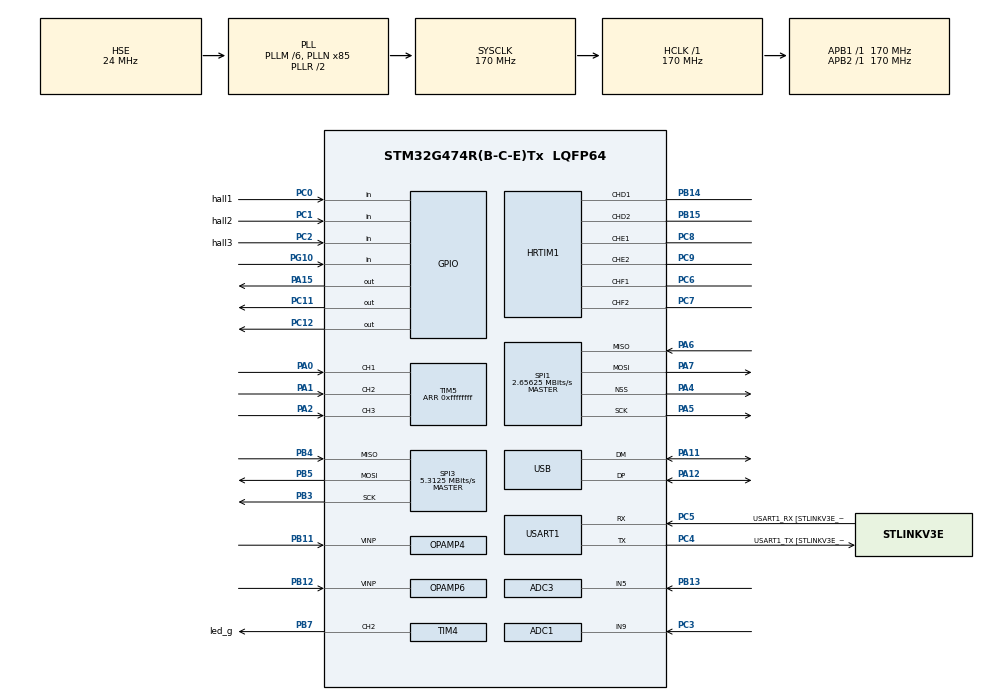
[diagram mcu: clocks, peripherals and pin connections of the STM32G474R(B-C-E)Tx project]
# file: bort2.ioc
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ADC1.Channel-10\#ChannelRegularConversion=ADC_CHANNEL_9
ADC1.ClockPrescaler=ADC_CLOCK_SYNC_PCLK_DIV4
ADC1.EOCSelection=ADC_EOC_SEQ_CONV
ADC1.EnableInjectedConversion=ENABLE
ADC1.EnableRegularConversion=ENABLE
ADC1.ExternalTrigConv=ADC_EXTERNALTRIG_HRTIM_TRG1
ADC1.ExternalTrigInjecConv=ADC_EXTERNALTRIGINJEC_HRTIM_TRG5
ADC1.InjNumberOfConversion=2
ADC1.InjectedChannel-7\#ChannelInjectedConversion=ADC_CHANNEL_11
ADC1.InjectedChannel-9\#ChannelInjectedConversion=ADC_CHANNEL_11
ADC1.InjectedConvMode=None
ADC1.InjectedOffsetNumber-7\#ChannelInjectedConversion=ADC_OFFSET_NONE
ADC1.InjectedOffsetNumber-9\#ChannelInjectedConversion=ADC_OFFSET_NONE
ADC1.InjectedRank-7\#ChannelInjectedConversion=1
ADC1.InjectedRank-9\#ChannelInjectedConversion=2
ADC1.InjectedSamplingTime-7\#ChannelInjectedConversion=ADC_SAMPLETIME_12CYCLES_5
ADC1.InjectedSamplingTime-9\#ChannelInjectedConversion=ADC_SAMPLETIME_12CYCLES_5
ADC1.NbrOfConversion=1
ADC1.NbrOfConversionFlag=1
ADC1.OffsetNumber-10\#ChannelRegularConversion=ADC_OFFSET_NONE
ADC1.Overrun=ADC_OVR_DATA_OVERWRITTEN
ADC1.Rank-10\#ChannelRegularConversion=1
ADC1.SamplingTime-10\#ChannelRegularConversion=ADC_SAMPLETIME_92CYCLES_5
ADC1.master=1
ADC2.Channel-8\#ChannelRegularConversion=ADC_CHANNEL_14
ADC2.ClockPrescaler=ADC_CLOCK_SYNC_PCLK_DIV4
ADC2.EnableInjectedConversion=ENABLE
ADC2.EnableRegularConversion=ENABLE
ADC2.ExternalTrigConv=ADC_EXTERNALTRIG_HRTIM_TRG1
ADC2.ExternalTrigInjecConv=ADC_EXTERNALTRIGINJEC_HRTIM_TRG5
ADC2.InjNumberOfConversion=1
ADC2.InjectedChannel-7\#ChannelInjectedConversion=ADC_CHANNEL_14
ADC2.InjectedOffsetNumber-7\#ChannelInjectedConversion=ADC_OFFSET_NONE
ADC2.InjectedRank-7\#ChannelInjectedConversion=1
ADC2.InjectedSamplingTime-7\#ChannelInjectedConversion=ADC_SAMPLETIME_12CYCLES_5
ADC2.NbrOfConversionFlag=1
ADC2.OffsetNumber-8\#ChannelRegularConversion=ADC_OFFSET_NONE
ADC2.Overrun=ADC_OVR_DATA_OVERWRITTEN
ADC2.Rank-8\#ChannelRegularConversion=1
ADC2.Rank1_Channel=ADC_CHANNEL_14
ADC2.SamplingTime-8\#ChannelRegularConversion=ADC_SAMPLETIME_12CYCLES_5
ADC3.ClockPrescaler=ADC_CLOCK_SYNC_PCLK_DIV4
ADC3.EOCSelection=ADC_EOC_SEQ_CONV
ADC3.EnableInjectedConversion=ENABLE
ADC3.EnableInjectedOversampling=DISABLE
ADC3.EnableRegularConversion=DISABLE
ADC3.ExternalTrigInjecConv=ADC_EXTERNALTRIGINJEC_HRTIM_TRG5
ADC3.InjNumberOfConversion=2
ADC3.InjectedChannel-5\#ChannelInjectedConversion=ADC_CHANNEL_VOPAMP3_ADC3
ADC3.InjectedChannel-6\#ChannelInjectedConversion=ADC_CHANNEL_5
ADC3.InjectedOffsetNumber-5\#ChannelInjectedConversion=ADC_OFFSET_NONE
ADC3.InjectedOffsetNumber-6\#ChannelInjectedConversion=ADC_OFFSET_NONE
ADC3.InjectedRank-5\#ChannelInjectedConversion=1
ADC3.InjectedRank-6\#ChannelInjectedConversion=2
ADC3.InjectedSamplingTime-5\#ChannelInjectedConversion=ADC_SAMPLETIME_12CYCLES_5
ADC3.InjectedSamplingTime-6\#ChannelInjectedConversion=ADC_SAMPLETIME_12CYCLES_5
ADC3.Overrun=ADC_OVR_DATA_OVERWRITTEN
ADC3.Rank1_Channel=ADC_CHANNEL_VOPAMP3_ADC3
ADC3.Rank2_Channel=ADC_CHANNEL_5
ADC3.Rank3_Channel=ADC_CHANNEL_5
ADC3.Rank4_Channel=ADC_CHANNEL_VOPAMP3_ADC3
ADC3.master=1
ADC4.ClockPrescaler=ADC_CLOCK_SYNC_PCLK_DIV4
ADC4.EnableInjectedConversion=ENABLE
ADC4.EnableRegularConversion=DISABLE
ADC4.ExternalTrigInjecConv=ADC_EXTERNALTRIGINJEC_HRTIM_TRG5
ADC4.InjNumberOfConversion=1
ADC4.InjectedChannel-3\#ChannelInjectedConversion=ADC_CHANNEL_VOPAMP6
ADC4.InjectedOffsetNumber-3\#ChannelInjectedConversion=ADC_OFFSET_NONE
ADC4.InjectedRank-3\#ChannelInjectedConversion=1
ADC4.InjectedSamplingTime-3\#ChannelInjectedConversion=ADC_SAMPLETIME_12CYCLES_5
ADC4.Overrun=ADC_OVR_DATA_OVERWRITTEN
ADC4.Rank1_Channel=ADC_CHANNEL_VOPAMP6
ADC5.ClockPrescaler=ADC_CLOCK_SYNC_PCLK_DIV4
ADC5.EnableInjectedConversion=ENABLE
ADC5.EnableRegularConversion=DISABLE
ADC5.ExternalTrigInjecConv=ADC_EXTERNALTRIGINJEC_HRTIM_TRG5
ADC5.InjNumberOfConversion=1
ADC5.InjectedChannel-5\#ChannelInjectedConversion=ADC_CHANNEL_VOPAMP4
ADC5.InjectedOffsetNumber-5\#ChannelInjectedConversion=ADC_OFFSET_NONE
ADC5.InjectedRank-5\#ChannelInjectedConversion=1
ADC5.InjectedSamplingTime-5\#ChannelInjectedConversion=ADC_SAMPLETIME_12CYCLES_5
ADC5.Overrun=ADC_OVR_DATA_OVERWRITTEN
ADC5.Rank1_Channel=ADC_CHANNEL_VOPAMP4
Dma.Request0=SPI3_TX
Dma.Request1=SPI3_RX
Dma.SPI3_RX.1.Direction=DMA_PERIPH_TO_MEMORY
Dma.SPI3_RX.1.EventEnable=DISABLE
Dma.SPI3_RX.1.Instance=DMA1_Channel2
Dma.SPI3_RX.1.MemDataAlignment=DMA_MDATAALIGN_HALFWORD
Dma.SPI3_RX.1.MemInc=DMA_MINC_ENABLE
Dma.SPI3_RX.1.Mode=DMA_NORMAL
Dma.SPI3_RX.1.PeriphDataAlignment=DMA_PDATAALIGN_HALFWORD
Dma.SPI3_RX.1.PeriphInc=DMA_PINC_DISABLE
Dma.SPI3_RX.1.Polarity=HAL_DMAMUX_REQ_GEN_RISING
Dma.SPI3_RX.1.Priority=DMA_PRIORITY_LOW
Dma.SPI3_RX.1.RequestNumber=1
Dma.SPI3_RX.1.SignalID=NONE
Dma.SPI3_RX.1.SyncEnable=DISABLE
Dma.SPI3_RX.1.SyncPolarity=HAL_DMAMUX_SYNC_NO_EVENT
Dma.SPI3_RX.1.SyncRequestNumber=1
Dma.SPI3_RX.1.SyncSignalID=NONE
Dma.SPI3_TX.0.Direction=DMA_MEMORY_TO_PERIPH
Dma.SPI3_TX.0.EventEnable=DISABLE
Dma.SPI3_TX.0.Instance=DMA1_Channel1
Dma.SPI3_TX.0.MemDataAlignment=DMA_MDATAALIGN_HALFWORD
Dma.SPI3_TX.0.MemInc=DMA_MINC_ENABLE
Dma.SPI3_TX.0.Mode=DMA_NORMAL
Dma.SPI3_TX.0.PeriphDataAlignment=DMA_PDATAALIGN_HALFWORD
Dma.SPI3_TX.0.PeriphInc=DMA_PINC_DISABLE
Dma.SPI3_TX.0.Polarity=HAL_DMAMUX_REQ_GEN_RISING
Dma.SPI3_TX.0.Priority=DMA_PRIORITY_LOW
Dma.SPI3_TX.0.RequestNumber=1
Dma.SPI3_TX.0.SignalID=NONE
Dma.SPI3_TX.0.SyncEnable=DISABLE
Dma.SPI3_TX.0.SyncPolarity=HAL_DMAMUX_SYNC_NO_EVENT
Dma.SPI3_TX.0.SyncRequestNumber=1
Dma.SPI3_TX.0.SyncSignalID=NONE
HRTIM1.ADCTrigger1_Source1=HRTIM_ADCTRIGGEREVENT13_TIMERE_PERIOD
HRTIM1.ADCTrigger2_Source1=HRTIM_ADCTRIGGEREVENT24_TIMERF_PERIOD
HRTIM1.ADCTrigger_Id1=HRTIM_ADCTRIGGER_1
HRTIM1.ADCTrigger_Id2=__NULL
HRTIM1.ADCTrigger_Id3=__NULL
HRTIM1.ADCTrigger_Id5=HRTIM_ADCTRIGGER_5
HRTIM1.ADCTrigger_Id6=__NULL
HRTIM1.ADCTrigger_Id7=__NULL
HRTIM1.Adrom_TE=HRTIM_TIM_ADROM_CREST
HRTIM1.Adrom_TF=HRTIM_TIM_ADROM_VALLEY
HRTIM1.Configuration_TD=Simple
HRTIM1.Configuration_TE=Simple
HRTIM1.Configuration_TF=Simple
HRTIM1.EnableCalibration=DLLSimpleCalibration
HRTIM1.NumberADCTriggerSource1=1
HRTIM1.NumberADCTriggerSource2=1
HRTIM1.OCChannel_TD1=HRTIM_OUTPUT_TD1
HRTIM1.OCChannel_TE1=HRTIM_OUTPUT_TE1
HRTIM1.OCChannel_TF1=HRTIM_OUTPUT_TF1
HRTIM1.OCChannel_TF2=__NULL
HRTIM1.OCMode_TD1=HRTIM_BASICOCMODE_ACTIVE
HRTIM1.OCMode_TE1=HRTIM_BASICOCMODE_ACTIVE
HRTIM1.OCMode_TF1=HRTIM_BASICOCMODE_ACTIVE
HRTIM1.OCMode_TF2=HRTIM_BASICOCMODE_INACTIVE
HRTIM1.OCPolarity_TD1=HRTIM_OUTPUTPOLARITY_HIGH
HRTIM1.OCPolarity_TE1=HRTIM_OUTPUTPOLARITY_HIGH
HRTIM1.OCPolarity_TF1=HRTIM_OUTPUTPOLARITY_HIGH
HRTIM1.OCPulse_TD1=hrperiod/2
HRTIM1.OCPulse_TE1=hrperiod/2
HRTIM1.OCPulse_TF1=hrperiod/2
HRTIM1.OCPulse_TF2=4000
HRTIM1.ORingUpdateSource_ADCTrigger1=HRTIM_ADCTRIGGERUPDATE_TIMER_E
HRTIM1.ORingUpdateSource_ADCTrigger5=HRTIM_ADCTRIGGERUPDATE_TIMER_F
HRTIM1.PWMChannel_TF1=__NULL
HRTIM1.PWMChannel_TF2=__NULL
HRTIM1.Periode_TD=hrperiod
HRTIM1.Periode_TE=hrperiod
HRTIM1.Periode_TF=hrperiod
HRTIM1.PrescalerRatio_TF=HRTIM_PRESCALERRATIO_MUL32
HRTIM1.Source_ADCTrigger5=HRTIM_ADCTRIGGEREVENT579_TIMERF_PERIOD
HRTIM1.UpDownMode-Output_TD1TD2=HRTIM_TIMERUPDOWNMODE_UPDOWN
HRTIM1.UpDownMode-Output_TE1TE2=HRTIM_TIMERUPDOWNMODE_UPDOWN
HRTIM1.UpDownMode-Output_TF1TF2=HRTIM_TIMERUPDOWNMODE_UPDOWN
HRTIM1.postscaler5=0
Mcu.Family=STM32G4
Mcu.Name=STM32G474R(B-C-E)Tx
Mcu.Package=LQFP64
Mcu.UserConstants=hrperiod,27200*2;main_loop_period,170e6/10000
NVIC.ADC1_2_IRQn=true\:0\:0\:false\:false\:true\:true\:true
NVIC.DMA1_Channel1_IRQn=true\:0\:0\:false\:false\:true\:false\:true
NVIC.DMA1_Channel2_IRQn=true\:0\:0\:false\:false\:true\:false\:true
NVIC.HRTIM1_Master_IRQn=true\:0\:0\:false\:false\:true\:false\:true
NVIC.PriorityGroup=NVIC_PRIORITYGROUP_4
NVIC.TIM1_UP_TIM16_IRQn=true\:0\:0\:false\:false\:true\:true\:true
NVIC.USB_HP_IRQn=true\:0\:0\:false\:false\:true\:true\:true
NVIC.USB_LP_IRQn=true\:0\:0\:false\:false\:true\:true\:true
OPAMP3.PowerMode=OPAMP_POWERMODE_HIGHSPEED
OPAMP4.PowerMode=OPAMP_POWERMODE_HIGHSPEED
OPAMP6.PowerMode=OPAMP_POWERMODE_HIGHSPEED
PA0.Signal=S_TIM5_CH1
PA1.Signal=S_TIM5_CH2
PA11.Mode=Device
PA11.Signal=USB_DM
PA12.Mode=Device
PA12.Signal=USB_DP
PA13.GPIO_Label=T_SWDIO
PA13.Signal=SYS_JTMS-SWDIO
PA14.GPIO_Label=T_SWCLK
PA14.Signal=SYS_JTCK-SWCLK
PA15.GPIO_Speed=GPIO_SPEED_FREQ_VERY_HIGH
PA15.PinState=GPIO_PIN_SET
PA15.Signal=GPIO_Output
PA2.Signal=S_TIM5_CH3
PA4.Mode=NSS_Signal_Hard_Output
PA4.Signal=SPI1_NSS
PA5.Mode=Full_Duplex_Master
PA5.Signal=SPI1_SCK
PA6.Mode=Full_Duplex_Master
PA6.Signal=SPI1_MISO
PA7.Mode=Full_Duplex_Master
PA7.Signal=SPI1_MOSI
PB11.Signal=SharedAnalog_PB11
PB12.Signal=SharedAnalog_PB12
PB13.Signal=SharedAnalog_PB13
PB14.Mode=Output_TD1TD2
PB14.Signal=HRTIM1_CHD1
PB15.Mode=Output_TD1TD2
PB15.Signal=HRTIM1_CHD2
PB3.GPIO_Speed=GPIO_SPEED_FREQ_VERY_HIGH
PB3.Mode=Full_Duplex_Master
PB3.Signal=SPI3_SCK
PB4.GPIO_Speed=GPIO_SPEED_FREQ_VERY_HIGH
PB4.Mode=Full_Duplex_Master
PB4.Signal=SPI3_MISO
PB5.GPIO_Speed=GPIO_SPEED_FREQ_VERY_HIGH
PB5.Mode=Full_Duplex_Master
PB5.Signal=SPI3_MOSI
PB7.GPIO_Label=led_g
PB7.GPIO_Speed=GPIO_SPEED_FREQ_VERY_HIGH
PB7.Signal=S_TIM4_CH2
PC0.GPIO_Label=hall1
PC0.Signal=GPIO_Input
PC1.GPIO_Label=hall2
PC1.Signal=GPIO_Input
PC11.Signal=GPIO_Output
PC12.GPIO_Speed=GPIO_SPEED_FREQ_VERY_HIGH
PC12.PinState=GPIO_PIN_SET
PC12.Signal=GPIO_Output
PC14-OSC32_IN.Mode=LSE-External-Oscillator
PC14-OSC32_IN.Signal=RCC_OSC32_IN
PC15-OSC32_OUT.Mode=LSE-External-Oscillator
PC15-OSC32_OUT.Signal=RCC_OSC32_OUT
PC2.GPIO_Label=hall3
PC2.Signal=GPIO_Input
PC3.Mode=IN9-Single-Ended
PC3.Signal=ADC1_IN9
PC4.GPIO_Label=USART1_TX [STLINKV3E_VCP_RX]
PC4.Mode=Asynchronous
PC4.Signal=USART1_TX
PC5.GPIO_Label=USART1_RX [STLINKV3E_VCP_TX]
PC5.Mode=Asynchronous
PC5.Signal=USART1_RX
PC6.Mode=Output_TF1TF2
PC6.Signal=HRTIM1_CHF1
PC7.Mode=Output_TF1TF2
PC7.Signal=HRTIM1_CHF2
PC8.Mode=Output_TE1TE2
PC8.Signal=HRTIM1_CHE1
PC9.Mode=Output_TE1TE2
PC9.Signal=HRTIM1_CHE2
PF0-OSC_IN.Mode=HSE-External-Oscillator
PF0-OSC_IN.Signal=RCC_OSC_IN
PF1-OSC_OUT.Mode=HSE-External-Oscillator
PF1-OSC_OUT.Signal=RCC_OSC_OUT
PG10-NRST.Signal=GPIO_Input
ProjectManager.HeapSize=0x2000
ProjectManager.StackSize=0x4000
ProjectManager.TargetToolchain=Makefile
RCC.ADC12CLockSelection=RCC_ADC12CLKSOURCE_PLL
RCC.ADC12Freq_Value=56666666.666666664
RCC.ADC345CLockSelection=RCC_ADC345CLKSOURCE_PLL
RCC.ADC345Freq_Value=56666666.666666664
RCC.AHBFreq_Value=170000000
RCC.APB1Freq_Value=170000000
RCC.APB1TimFreq_Value=170000000
RCC.APB2Freq_Value=170000000
RCC.APB2TimFreq_Value=170000000
RCC.CK48CLockSelection=RCC_USBCLKSOURCE_HSI48
RCC.CortexFreq_Value=170000000
RCC.EXTERNAL_CLOCK_VALUE=12288000
RCC.HCLKFreq_Value=170000000
RCC.HSE_VALUE=24000000
RCC.HSI48_VALUE=48000000
RCC.HSI_VALUE=16000000
RCC.PLLM=RCC_PLLM_DIV6
RCC.PLLN=85
RCC.PLLP=RCC_PLLP_DIV6
RCC.PLLQ=RCC_PLLQ_DIV8
RCC.PLLSourceVirtual=RCC_PLLSOURCE_HSE
RCC.PREFETCH_ENABLE=1
RCC.RTCClockSelection=RCC_RTCCLKSOURCE_LSE
RCC.SYSCLKFreq_VALUE=170000000
RCC.SYSCLKSource=RCC_SYSCLKSOURCE_PLLCLK
RCC.USBFreq_Value=48000000
RCC.VCOOutputFreq_Value=340000000
SH.S_TIM4_CH2.0=TIM4_CH2,PWM Generation2 CH2
SH.S_TIM5_CH1.0=TIM5_CH1,Encoder_Interface
SH.S_TIM5_CH2.0=TIM5_CH2,Encoder_Interface
SH.S_TIM5_CH3.0=TIM5_CH3,Input_Capture3_from_TI3
SH.SharedAnalog_PB11.0=OPAMP4_VINP,Follower_Internally_Connected
SH.SharedAnalog_PB11.1=ADC2_IN14,IN14-Single-Ended
SH.SharedAnalog_PB12.0=OPAMP6_VINP,Follower_Internally_Connected
SH.SharedAnalog_PB12.1=ADC1_IN11,IN11-Single-Ended
SH.SharedAnalog_PB13.0=ADC3_IN5,IN5-Single-Ended
SH.SharedAnalog_PB13.1=OPAMP3_VINP,Follower_Internally_Connected
SPI1.BaudRatePrescaler=SPI_BAUDRATEPRESCALER_64
SPI1.CalculateBaudRate=2.65625 MBits/s
SPI1.DataSize=SPI_DATASIZE_16BIT
SPI1.Direction=SPI_DIRECTION_2LINES
SPI1.Mode=SPI_MODE_MASTER
SPI1.TIMode=SPI_TIMODE_ENABLE
SPI1.VirtualNSS=VM_NSSHARD
SPI1.VirtualType=VM_MASTER
SPI3.BaudRatePrescaler=SPI_BAUDRATEPRESCALER_32
SPI3.CLKPhase=SPI_PHASE_2EDGE
SPI3.CLKPolarity=SPI_POLARITY_LOW
SPI3.CalculateBaudRate=5.3125 MBits/s
SPI3.DataSize=SPI_DATASIZE_16BIT
SPI3.Direction=SPI_DIRECTION_2LINES
SPI3.Mode=SPI_MODE_MASTER
SPI3.VirtualType=VM_MASTER
TIM1.PeriodNoDither=main_loop_period-1
TIM4.Channel-PWM\ Generation2\ CH2=TIM_CHANNEL_2
TIM4.PeriodNoDither=0xFFFF
TIM5.Channel-Input_Capture3_from_TI3=TIM_CHANNEL_3
TIM5.EncoderMode=TIM_ENCODERMODE_TI12
TIM5.IC1Filter=1
TIM5.IC2Filter=1
TIM5.ICFilter_CH3=2
TIM5.PeriodNoDither=0xffffffff
USART1.VirtualMode-Asynchronous=VM_ASYNC
USART1.WordLength=WORDLENGTH_8B
VP_ADC3_OPAMP_INTERNAL3.Mode=IN-OPAMP3
VP_ADC4_OPAMP_INTERNAL6.Mode=IN-OPAMP6
VP_ADC5_OPAMP_INTERNAL4.Mode=IN-OPAMP4
VP_RCC_VS_USB.Mode=USB_FS
VP_SYS_VS_DBSignals.Mode=DisableDeadBatterySignals
VP_TIM1_VS_ClockSourceINT.Mode=Internal
board=NUCLEO-G474RE

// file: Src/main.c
/* USER CODE BEGIN Header */
/**
  ******************************************************************************
  * @file           : main.c
  * @brief          : Main program body
  ******************************************************************************
  * @attention
  *
  * <h2><center>&copy; Copyright (c) 2019 STMicroelectronics.
  * All rights reserved.</center></h2>
  *
  * This software component is licensed by ST under Ultimate Liberty license
  * SLA0044, the "License"; You may not use this file except in compliance with
  * the License. You may obtain a copy of the License at:
  *                             www.st.com/SLA0044
  *
  ******************************************************************************
  */
/* USER CODE END Header */

#include "main.h"

/* USER CODE BEGIN Includes */
#include "../motorlib/config.h"
uint8_t go_to_bootloader = 0;
/* USER CODE END Includes */

ADC_HandleTypeDef hadc1;
ADC_HandleTypeDef hadc2;
ADC_HandleTypeDef hadc3;
ADC_HandleTypeDef hadc4;
ADC_HandleTypeDef hadc5;

HRTIM_HandleTypeDef hhrtim1;

OPAMP_HandleTypeDef hopamp3;
OPAMP_HandleTypeDef hopamp4;
OPAMP_HandleTypeDef hopamp6;

SPI_HandleTypeDef hspi1;
SPI_HandleTypeDef hspi3;
DMA_HandleTypeDef hdma_spi3_tx;
DMA_HandleTypeDef hdma_spi3_rx;

TIM_HandleTypeDef htim1;
TIM_HandleTypeDef htim4;
TIM_HandleTypeDef htim5;

UART_HandleTypeDef huart1;

PCD_HandleTypeDef hpcd_USB_FS;

/* USER CODE BEGIN PV */
#include "../motorlib/param.h"
//#include "main2.h"

/* USER CODE END PV */

void SystemClock_Config(void);
static void MX_GPIO_Init(void);
static void MX_USART1_UART_Init(void);
static void MX_HRTIM1_Init(void);
static void MX_ADC1_Init(void);
static void MX_ADC2_Init(void);
static void MX_ADC3_Init(void);
static void MX_TIM5_Init(void);
static void MX_SPI1_Init(void);
static void MX_SPI3_Init(void);
static void MX_DMA_Init(void);
static void MX_ADC4_Init(void);
static void MX_ADC5_Init(void);
static void MX_OPAMP3_Init(void);
static void MX_OPAMP4_Init(void);
static void MX_OPAMP6_Init(void);
static void MX_USB_PCD_Init(void);
static void MX_TIM1_Init(void);
static void MX_TIM4_Init(void);

/* USER CODE BEGIN 0 */
uint16_t drv_regs_error = 0;

uint16_t drv_regs[] = {
  (2<<11) | 0x00,  // control_reg 0x00, 6 PWM mode
  (3<<11) | 0x3AA, // hs_reg      0x3CC, moderate drive current
  (4<<11) | 0x2FF, // ls_reg      0x0CC, no cycle by cycle, 500 ns tdrive
                                // moderate drive current (.57,1.14A)
  (5<<11) | 0x020,  // ocp_reg     0x20 -> 50 ns dead time,
                              //latched ocp, 4 us ocp deglitch, 0.06 Vds thresh
  //(6<<11) | 0x2C0, // csa_reg     0x2C0 -> bidirectional current, 40V/V
  (6<<11) | 0x280, // csa_reg     0x280 -> bidirectional current, 20V/V
};

/* USER CODE END 0 */

int main(void)
{
  /* USER CODE BEGIN 1 */
  // DWC CYCCNT used as main counter
  CoreDebug->DEMCR |= CoreDebug_DEMCR_TRCENA_Msk;
  DWT->CYCCNT = 0;
  DWT->CTRL |= DWT_CTRL_CYCCNTENA_Msk;
  /* USER CODE END 1 */

  /* MCU Configuration--------------------------------------------------------*/

  /* Reset of all peripherals, Initializes the Flash interface and the Systick. */
  HAL_Init();

  /* USER CODE BEGIN Init */
  RCC->APB1ENR1 |= RCC_APB1ENR1_CRSEN;      // Clock recovery circuit, enables syncing HSI48 MHz to USB clock
  /* USER CODE END Init */

  /* Configure the system clock */
  SystemClock_Config();

  /* USER CODE BEGIN SysInit */
        DWT->CTRL = 0x400003FF | (1ul<<17) | DWT_CTRL_LSUEVTENA_Msk | DWT_CTRL_FOLDEVTENA_Msk;
  init_param_from_flash();
    fast_loop_set_param(&param()->fast_loop_param);
  main_loop_set_param(&param()->main_loop_param);
  /* USER CODE END SysInit */

  /* Initialize all configured peripherals */
  MX_GPIO_Init();
  MX_USART1_UART_Init();
  MX_HRTIM1_Init();
  MX_ADC1_Init();
  MX_ADC2_Init();
  MX_ADC3_Init();
  MX_TIM5_Init();
  MX_SPI1_Init();
  MX_SPI3_Init();
  MX_DMA_Init();
  MX_ADC4_Init();
  MX_ADC5_Init();
  MX_OPAMP3_Init();
  MX_OPAMP4_Init();
  MX_OPAMP6_Init();
  MX_USB_PCD_Init();
  MX_TIM1_Init();
  MX_TIM4_Init();
  /* USER CODE BEGIN 2 */

  HAL_ADC_Start(&hadc1);
  HAL_ADC_Start(&hadc2);
  HAL_ADC_Start(&hadc3);
  HAL_ADC_Start(&hadc4);
  HAL_ADC_Start(&hadc5);

  HAL_OPAMP_Start(&hopamp3);
  HAL_OPAMP_Start(&hopamp4);
  OPAMP6->CSR |= OPAMP_CSR_OPAMPINTEN; // bug in cubemx
  HAL_OPAMP_Start(&hopamp6);
  HAL_Delay(100);

    SPI3->CR1 |= SPI_CR1_SPE;

  GPIOC->ODR |= GPIO_ODR_OD11; // drv enable
  HAL_Delay(10);

  for (uint8_t i=0; i<sizeof(drv_regs)/sizeof(uint16_t); i++) {
    uint16_t reg_out = drv_regs[i];
    uint16_t reg_in = 0;
    HAL_SPI_TransmitReceive(&hspi1, (uint8_t *) &reg_out, (uint8_t *) &reg_in, 1, 10);
     reg_out |= (1<<15); // switch to read mode
     HAL_SPI_TransmitReceive(&hspi1, (uint8_t *) &reg_out, (uint8_t *) &reg_in, 1, 10);
    if ((reg_in & 0x7FF) != (reg_out & 0x7FF)) {
      drv_regs_error |= 1 << i;
    }
  }
  uint32_t deadtime = 10;
  uint32_t deadprescale = 0;
  HRTIM1->sTimerxRegs[3].OUTxR |= HRTIM_OUTR_DTEN;
  HRTIM1->sTimerxRegs[3].DTxR |= (deadtime << HRTIM_DTR_DTF_Pos) | (deadtime << HRTIM_DTR_DTR_Pos) | (deadprescale << HRTIM_DTR_DTPRSC_Pos);
  HRTIM1->sTimerxRegs[3].TIMxCR |= HRTIM_TIMCR_PREEN | HRTIM_TIMCR_TRSTU;
  HRTIM1->sTimerxRegs[4].OUTxR |= HRTIM_OUTR_DTEN;
  HRTIM1->sTimerxRegs[4].DTxR |= (deadtime << HRTIM_DTR_DTF_Pos) | (deadtime << HRTIM_DTR_DTR_Pos) | (deadprescale << HRTIM_DTR_DTPRSC_Pos);
  HRTIM1->sTimerxRegs[4].TIMxCR |= HRTIM_TIMCR_PREEN | HRTIM_TIMCR_TRSTU;
  HRTIM1->sTimerxRegs[5].OUTxR |= HRTIM_OUTR_DTEN;
  HRTIM1->sTimerxRegs[5].DTxR |= (deadtime << HRTIM_DTR_DTF_Pos) | (deadtime << HRTIM_DTR_DTR_Pos) | (deadprescale << HRTIM_DTR_DTPRSC_Pos);
  HRTIM1->sTimerxRegs[5].TIMxCR |= HRTIM_TIMCR_PREEN | HRTIM_TIMCR_TRSTU;

  //HRTIM1->sCommonRegs.CR2 |= HRTIM_CR2_TESWU;
  HRTIM1->sMasterRegs.MCR |= HRTIM_MCR_TDCEN + HRTIM_MCR_TECEN + HRTIM_MCR_TFCEN;

  HAL_HRTIM_SimplePWMStart(&hhrtim1, HRTIM_TIMERINDEX_TIMER_D, HRTIM_OUTPUT_TD1);
  HAL_HRTIM_SimplePWMStart(&hhrtim1, HRTIM_TIMERINDEX_TIMER_D, HRTIM_OUTPUT_TD2);
  HAL_HRTIM_SimplePWMStart(&hhrtim1, HRTIM_TIMERINDEX_TIMER_E, HRTIM_OUTPUT_TE2);
  HAL_HRTIM_SimplePWMStart(&hhrtim1, HRTIM_TIMERINDEX_TIMER_E, HRTIM_OUTPUT_TF1);
  HAL_HRTIM_SimplePWMStart(&hhrtim1, HRTIM_TIMERINDEX_TIMER_F, HRTIM_OUTPUT_TE1);
  HAL_HRTIM_SimplePWMStart(&hhrtim1, HRTIM_TIMERINDEX_TIMER_F, HRTIM_OUTPUT_TF2);
  hadc1.Instance->CR |= ADC_CR_JADSTART;
  hadc1.Instance->IER |= ADC_IER_JEOCIE;
  hadc2.Instance->CR |= ADC_CR_JADSTART;
  hadc3.Instance->CR |= ADC_CR_JADSTART;
  hadc4.Instance->CR |= ADC_CR_JADSTART;
  hadc5.Instance->CR |= ADC_CR_JADSTART;

  // interrupt priorities
  HAL_NVIC_SetPriority(SysTick_IRQn, 4, 0);
  HAL_NVIC_SetPriority(USB_HP_IRQn, 2, 0);
  HAL_NVIC_SetPriority(USB_LP_IRQn, 3, 0);
  HAL_NVIC_SetPriority(TIM1_UP_TIM16_IRQn, 1, 0);

  HAL_TIM_Encoder_Start(&htim5, TIM_CHANNEL_ALL);
  USB->CNTR &= ~(USB_CNTR_SOFM | USB_CNTR_ESOFM); // Don't need these interrupts
  USB_DevConnect(USB);
  htim1.Instance->DIER |= TIM_DIER_UIE;
  HAL_TIM_Base_Start(&htim1);
  HAL_TIM_Base_Start(&htim4);
  HAL_TIM_IC_Start(&htim5, TIM_CHANNEL_3); // encoder index
  HAL_TIM_OC_Start(&htim4, TIM_CHANNEL_2);

  /* USER CODE END 2 */

  /* Infinite loop */
  /* USER CODE BEGIN WHILE */
  int i = 0;
  while (1)
  {
    i++;
    actuator_run();
   // USB_send(&i,sizeof(int));
    /* USER CODE END WHILE */

  }
}

void SystemClock_Config(void)
{
  RCC_OscInitTypeDef RCC_OscInitStruct = {0};
  RCC_ClkInitTypeDef RCC_ClkInitStruct = {0};
  RCC_PeriphCLKInitTypeDef PeriphClkInit = {0};
  RCC_CRSInitTypeDef pInit = {0};

  /** Configure the main internal regulator output voltage
  */
  HAL_PWREx_ControlVoltageScaling(PWR_REGULATOR_VOLTAGE_SCALE1_BOOST);
  /** Initializes the CPU, AHB and APB busses clocks
  */
  RCC_OscInitStruct.OscillatorType = RCC_OSCILLATORTYPE_HSI48|RCC_OSCILLATORTYPE_HSE;
  RCC_OscInitStruct.HSEState = RCC_HSE_ON;
  RCC_OscInitStruct.HSI48State = RCC_HSI48_ON;
  RCC_OscInitStruct.PLL.PLLState = RCC_PLL_ON;
  RCC_OscInitStruct.PLL.PLLSource = RCC_PLLSOURCE_HSE;
  RCC_OscInitStruct.PLL.PLLM = RCC_PLLM_DIV6;
  RCC_OscInitStruct.PLL.PLLN = 85;
  RCC_OscInitStruct.PLL.PLLP = RCC_PLLP_DIV6;
  RCC_OscInitStruct.PLL.PLLQ = RCC_PLLQ_DIV8;
  RCC_OscInitStruct.PLL.PLLR = RCC_PLLR_DIV2;
  if (HAL_RCC_OscConfig(&RCC_OscInitStruct) != HAL_OK)
  {
    Error_Handler();
  }
  /** Initializes the CPU, AHB and APB busses clocks
  */
  RCC_ClkInitStruct.ClockType = RCC_CLOCKTYPE_HCLK|RCC_CLOCKTYPE_SYSCLK
                              |RCC_CLOCKTYPE_PCLK1|RCC_CLOCKTYPE_PCLK2;
  RCC_ClkInitStruct.SYSCLKSource = RCC_SYSCLKSOURCE_PLLCLK;
  RCC_ClkInitStruct.AHBCLKDivider = RCC_SYSCLK_DIV1;
  RCC_ClkInitStruct.APB1CLKDivider = RCC_HCLK_DIV1;
  RCC_ClkInitStruct.APB2CLKDivider = RCC_HCLK_DIV1;

  if (HAL_RCC_ClockConfig(&RCC_ClkInitStruct, FLASH_LATENCY_8) != HAL_OK)
  {
    Error_Handler();
  }
  /** Initializes the peripherals clocks
  */
  PeriphClkInit.PeriphClockSelection = RCC_PERIPHCLK_USART1|RCC_PERIPHCLK_USB
                              |RCC_PERIPHCLK_ADC12|RCC_PERIPHCLK_ADC345;
  PeriphClkInit.Usart1ClockSelection = RCC_USART1CLKSOURCE_PCLK2;
  PeriphClkInit.UsbClockSelection = RCC_USBCLKSOURCE_HSI48;
  PeriphClkInit.Adc12ClockSelection = RCC_ADC12CLKSOURCE_PLL;
  PeriphClkInit.Adc345ClockSelection = RCC_ADC345CLKSOURCE_PLL;
  if (HAL_RCCEx_PeriphCLKConfig(&PeriphClkInit) != HAL_OK)
  {
    Error_Handler();
  }
  /** Configures CRS
  */
  pInit.Prescaler = RCC_CRS_SYNC_DIV1;
  pInit.Source = RCC_CRS_SYNC_SOURCE_USB;
  pInit.Polarity = RCC_CRS_SYNC_POLARITY_RISING;
  pInit.ReloadValue = __HAL_RCC_CRS_RELOADVALUE_CALCULATE(48000000,1000);
  pInit.ErrorLimitValue = 34;
  pInit.HSI48CalibrationValue = 32;

  HAL_RCCEx_CRSConfig(&pInit);
}

static void MX_ADC1_Init(void)
{

  ADC_MultiModeTypeDef multimode = {0};
  ADC_InjectionConfTypeDef sConfigInjected = {0};
  ADC_ChannelConfTypeDef sConfig = {0};

  /** Common config
  */
  hadc1.Instance = ADC1;
  hadc1.Init.ClockPrescaler = ADC_CLOCK_SYNC_PCLK_DIV4;
  hadc1.Init.Resolution = ADC_RESOLUTION_12B;
  hadc1.Init.DataAlign = ADC_DATAALIGN_RIGHT;
  hadc1.Init.GainCompensation = 0;
  hadc1.Init.ScanConvMode = ADC_SCAN_ENABLE;
  hadc1.Init.EOCSelection = ADC_EOC_SEQ_CONV;
  hadc1.Init.LowPowerAutoWait = DISABLE;
  hadc1.Init.ContinuousConvMode = DISABLE;
  hadc1.Init.NbrOfConversion = 1;
  hadc1.Init.DiscontinuousConvMode = DISABLE;
  hadc1.Init.ExternalTrigConv = ADC_EXTERNALTRIG_HRTIM_TRG1;
  hadc1.Init.ExternalTrigConvEdge = ADC_EXTERNALTRIGCONVEDGE_RISING;
  hadc1.Init.DMAContinuousRequests = DISABLE;
  hadc1.Init.Overrun = ADC_OVR_DATA_OVERWRITTEN;
  hadc1.Init.OversamplingMode = DISABLE;
  if (HAL_ADC_Init(&hadc1) != HAL_OK)
  {
    Error_Handler();
  }
  /** Configure the ADC multi-mode
  */
  multimode.Mode = ADC_MODE_INDEPENDENT;
  if (HAL_ADCEx_MultiModeConfigChannel(&hadc1, &multimode) != HAL_OK)
  {
    Error_Handler();
  }
  /** Configure Injected Channel
  */
  sConfigInjected.InjectedChannel = ADC_CHANNEL_11;
  sConfigInjected.InjectedRank = ADC_INJECTED_RANK_1;
  sConfigInjected.InjectedSamplingTime = ADC_SAMPLETIME_12CYCLES_5;
  sConfigInjected.InjectedSingleDiff = ADC_SINGLE_ENDED;
  sConfigInjected.InjectedOffsetNumber = ADC_OFFSET_NONE;
  sConfigInjected.InjectedOffset = 0;
  sConfigInjected.InjectedNbrOfConversion = 2;
  sConfigInjected.InjectedDiscontinuousConvMode = DISABLE;
  sConfigInjected.AutoInjectedConv = DISABLE;
  sConfigInjected.QueueInjectedContext = DISABLE;
  sConfigInjected.ExternalTrigInjecConv = ADC_EXTERNALTRIGINJEC_HRTIM_TRG5;
  sConfigInjected.ExternalTrigInjecConvEdge = ADC_EXTERNALTRIGINJECCONV_EDGE_RISING;
  sConfigInjected.InjecOversamplingMode = DISABLE;
  if (HAL_ADCEx_InjectedConfigChannel(&hadc1, &sConfigInjected) != HAL_OK)
  {
    Error_Handler();
  }
  /** Configure Injected Channel
  */
  sConfigInjected.InjectedRank = ADC_INJECTED_RANK_2;
  if (HAL_ADCEx_InjectedConfigChannel(&hadc1, &sConfigInjected) != HAL_OK)
  {
    Error_Handler();
  }
  /** Configure Regular Channel
  */
  sConfig.Channel = ADC_CHANNEL_9;
  sConfig.Rank = ADC_REGULAR_RANK_1;
  sConfig.SamplingTime = ADC_SAMPLETIME_92CYCLES_5;
  sConfig.SingleDiff = ADC_SINGLE_ENDED;
  sConfig.OffsetNumber = ADC_OFFSET_NONE;
  sConfig.Offset = 0;
  if (HAL_ADC_ConfigChannel(&hadc1, &sConfig) != HAL_OK)
  {
    Error_Handler();
  }

}

static void MX_ADC2_Init(void)
{

  ADC_InjectionConfTypeDef sConfigInjected = {0};
  ADC_ChannelConfTypeDef sConfig = {0};

  /** Common config
  */
  hadc2.Instance = ADC2;
  hadc2.Init.ClockPrescaler = ADC_CLOCK_SYNC_PCLK_DIV4;
  hadc2.Init.Resolution = ADC_RESOLUTION_12B;
  hadc2.Init.DataAlign = ADC_DATAALIGN_RIGHT;
  hadc2.Init.GainCompensation = 0;
  hadc2.Init.ScanConvMode = ADC_SCAN_DISABLE;
  hadc2.Init.EOCSelection = ADC_EOC_SINGLE_CONV;
  hadc2.Init.LowPowerAutoWait = DISABLE;
  hadc2.Init.ContinuousConvMode = DISABLE;
  hadc2.Init.NbrOfConversion = 1;
  hadc2.Init.DiscontinuousConvMode = DISABLE;
  hadc2.Init.ExternalTrigConv = ADC_EXTERNALTRIG_HRTIM_TRG1;
  hadc2.Init.ExternalTrigConvEdge = ADC_EXTERNALTRIGCONVEDGE_RISING;
  hadc2.Init.DMAContinuousRequests = DISABLE;
  hadc2.Init.Overrun = ADC_OVR_DATA_OVERWRITTEN;
  hadc2.Init.OversamplingMode = DISABLE;
  if (HAL_ADC_Init(&hadc2) != HAL_OK)
  {
    Error_Handler();
  }
  /** Configure Injected Channel
  */
  sConfigInjected.InjectedChannel = ADC_CHANNEL_14;
  sConfigInjected.InjectedRank = ADC_INJECTED_RANK_1;
  sConfigInjected.InjectedSamplingTime = ADC_SAMPLETIME_12CYCLES_5;
  sConfigInjected.InjectedSingleDiff = ADC_SINGLE_ENDED;
  sConfigInjected.InjectedOffsetNumber = ADC_OFFSET_NONE;
  sConfigInjected.InjectedOffset = 0;
  sConfigInjected.InjectedNbrOfConversion = 1;
  sConfigInjected.InjectedDiscontinuousConvMode = DISABLE;
  sConfigInjected.AutoInjectedConv = DISABLE;
  sConfigInjected.QueueInjectedContext = DISABLE;
  sConfigInjected.ExternalTrigInjecConv = ADC_EXTERNALTRIGINJEC_HRTIM_TRG5;
  sConfigInjected.ExternalTrigInjecConvEdge = ADC_EXTERNALTRIGINJECCONV_EDGE_RISING;
  sConfigInjected.InjecOversamplingMode = DISABLE;
  if (HAL_ADCEx_InjectedConfigChannel(&hadc2, &sConfigInjected) != HAL_OK)
  {
    Error_Handler();
  }
  /** Configure Regular Channel
  */
  sConfig.Channel = ADC_CHANNEL_14;
  sConfig.Rank = ADC_REGULAR_RANK_1;
  sConfig.SamplingTime = ADC_SAMPLETIME_12CYCLES_5;
  sConfig.SingleDiff = ADC_SINGLE_ENDED;
  sConfig.OffsetNumber = ADC_OFFSET_NONE;
  sConfig.Offset = 0;
  if (HAL_ADC_ConfigChannel(&hadc2, &sConfig) != HAL_OK)
  {
    Error_Handler();
  }

}

static void MX_ADC3_Init(void)
{

  ADC_MultiModeTypeDef multimode = {0};
  ADC_InjectionConfTypeDef sConfigInjected = {0};

  /** Common config
  */
  hadc3.Instance = ADC3;
  hadc3.Init.ClockPrescaler = ADC_CLOCK_SYNC_PCLK_DIV4;
  hadc3.Init.Resolution = ADC_RESOLUTION_12B;
  hadc3.Init.DataAlign = ADC_DATAALIGN_RIGHT;
  hadc3.Init.GainCompensation = 0;
  hadc3.Init.ScanConvMode = ADC_SCAN_ENABLE;
  hadc3.Init.EOCSelection = ADC_EOC_SEQ_CONV;
  hadc3.Init.LowPowerAutoWait = DISABLE;
  hadc3.Init.ContinuousConvMode = DISABLE;
  hadc3.Init.NbrOfConversion = 1;
  hadc3.Init.DiscontinuousConvMode = DISABLE;
  hadc3.Init.DMAContinuousRequests = DISABLE;
  hadc3.Init.Overrun = ADC_OVR_DATA_OVERWRITTEN;
  hadc3.Init.OversamplingMode = DISABLE;
  if (HAL_ADC_Init(&hadc3) != HAL_OK)
  {
    Error_Handler();
  }
  /** Configure the ADC multi-mode
  */
  multimode.Mode = ADC_MODE_INDEPENDENT;
  if (HAL_ADCEx_MultiModeConfigChannel(&hadc3, &multimode) != HAL_OK)
  {
    Error_Handler();
  }
  /** Configure Injected Channel
  */
  sConfigInjected.InjectedChannel = ADC_CHANNEL_VOPAMP3_ADC3;
  sConfigInjected.InjectedRank = ADC_INJECTED_RANK_1;
  sConfigInjected.InjectedSamplingTime = ADC_SAMPLETIME_12CYCLES_5;
  sConfigInjected.InjectedSingleDiff = ADC_SINGLE_ENDED;
  sConfigInjected.InjectedOffsetNumber = ADC_OFFSET_NONE;
  sConfigInjected.InjectedOffset = 0;
  sConfigInjected.InjectedNbrOfConversion = 2;
  sConfigInjected.InjectedDiscontinuousConvMode = DISABLE;
  sConfigInjected.AutoInjectedConv = DISABLE;
  sConfigInjected.QueueInjectedContext = DISABLE;
  sConfigInjected.ExternalTrigInjecConv = ADC_EXTERNALTRIGINJEC_HRTIM_TRG5;
  sConfigInjected.ExternalTrigInjecConvEdge = ADC_EXTERNALTRIGINJECCONV_EDGE_RISING;
  sConfigInjected.InjecOversamplingMode = DISABLE;
  if (HAL_ADCEx_InjectedConfigChannel(&hadc3, &sConfigInjected) != HAL_OK)
  {
    Error_Handler();
  }
  /** Configure Injected Channel
  */
  sConfigInjected.InjectedChannel = ADC_CHANNEL_5;
  sConfigInjected.InjectedRank = ADC_INJECTED_RANK_2;
  if (HAL_ADCEx_InjectedConfigChannel(&hadc3, &sConfigInjected) != HAL_OK)
  {
    Error_Handler();
  }

}

static void MX_ADC4_Init(void)
{

  ADC_InjectionConfTypeDef sConfigInjected = {0};

  /** Common config
  */
  hadc4.Instance = ADC4;
  hadc4.Init.ClockPrescaler = ADC_CLOCK_SYNC_PCLK_DIV4;
  hadc4.Init.Resolution = ADC_RESOLUTION_12B;
  hadc4.Init.DataAlign = ADC_DATAALIGN_RIGHT;
  hadc4.Init.GainCompensation = 0;
  hadc4.Init.ScanConvMode = ADC_SCAN_DISABLE;
  hadc4.Init.EOCSelection = ADC_EOC_SINGLE_CONV;
  hadc4.Init.LowPowerAutoWait = DISABLE;
  hadc4.Init.ContinuousConvMode = DISABLE;
  hadc4.Init.NbrOfConversion = 1;
  hadc4.Init.DiscontinuousConvMode = DISABLE;
  hadc4.Init.DMAContinuousRequests = DISABLE;
  hadc4.Init.Overrun = ADC_OVR_DATA_OVERWRITTEN;
  hadc4.Init.OversamplingMode = DISABLE;
  if (HAL_ADC_Init(&hadc4) != HAL_OK)
  {
    Error_Handler();
  }
  /** Configure Injected Channel
  */
  sConfigInjected.InjectedChannel = ADC_CHANNEL_VOPAMP6;
  sConfigInjected.InjectedRank = ADC_INJECTED_RANK_1;
  sConfigInjected.InjectedSamplingTime = ADC_SAMPLETIME_12CYCLES_5;
  sConfigInjected.InjectedSingleDiff = ADC_SINGLE_ENDED;
  sConfigInjected.InjectedOffsetNumber = ADC_OFFSET_NONE;
  sConfigInjected.InjectedOffset = 0;
  sConfigInjected.InjectedNbrOfConversion = 1;
  sConfigInjected.InjectedDiscontinuousConvMode = DISABLE;
  sConfigInjected.AutoInjectedConv = DISABLE;
  sConfigInjected.QueueInjectedContext = DISABLE;
  sConfigInjected.ExternalTrigInjecConv = ADC_EXTERNALTRIGINJEC_HRTIM_TRG5;
  sConfigInjected.ExternalTrigInjecConvEdge = ADC_EXTERNALTRIGINJECCONV_EDGE_RISING;
  sConfigInjected.InjecOversamplingMode = DISABLE;
  if (HAL_ADCEx_InjectedConfigChannel(&hadc4, &sConfigInjected) != HAL_OK)
  {
    Error_Handler();
  }

}

static void MX_ADC5_Init(void)
{

  ADC_InjectionConfTypeDef sConfigInjected = {0};

  /** Common config
  */
  hadc5.Instance = ADC5;
  hadc5.Init.ClockPrescaler = ADC_CLOCK_SYNC_PCLK_DIV4;
  hadc5.Init.Resolution = ADC_RESOLUTION_12B;
  hadc5.Init.DataAlign = ADC_DATAALIGN_RIGHT;
  hadc5.Init.GainCompensation = 0;
  hadc5.Init.ScanConvMode = ADC_SCAN_DISABLE;
  hadc5.Init.EOCSelection = ADC_EOC_SINGLE_CONV;
  hadc5.Init.LowPowerAutoWait = DISABLE;
  hadc5.Init.ContinuousConvMode = DISABLE;
  hadc5.Init.NbrOfConversion = 1;
  hadc5.Init.DiscontinuousConvMode = DISABLE;
  hadc5.Init.DMAContinuousRequests = DISABLE;
  hadc5.Init.Overrun = ADC_OVR_DATA_OVERWRITTEN;
  hadc5.Init.OversamplingMode = DISABLE;
  if (HAL_ADC_Init(&hadc5) != HAL_OK)
  {
    Error_Handler();
  }
  /** Configure Injected Channel
  */
  sConfigInjected.InjectedChannel = ADC_CHANNEL_VOPAMP4;
  sConfigInjected.InjectedRank = ADC_INJECTED_RANK_1;
  sConfigInjected.InjectedSamplingTime = ADC_SAMPLETIME_12CYCLES_5;
  sConfigInjected.InjectedSingleDiff = ADC_SINGLE_ENDED;
  sConfigInjected.InjectedOffsetNumber = ADC_OFFSET_NONE;
  sConfigInjected.InjectedOffset = 0;
  sConfigInjected.InjectedNbrOfConversion = 1;
  sConfigInjected.InjectedDiscontinuousConvMode = DISABLE;
  sConfigInjected.AutoInjectedConv = DISABLE;
  sConfigInjected.QueueInjectedContext = DISABLE;
  sConfigInjected.ExternalTrigInjecConv = ADC_EXTERNALTRIGINJEC_HRTIM_TRG5;
  sConfigInjected.ExternalTrigInjecConvEdge = ADC_EXTERNALTRIGINJECCONV_EDGE_RISING;
  sConfigInjected.InjecOversamplingMode = DISABLE;
  if (HAL_ADCEx_InjectedConfigChannel(&hadc5, &sConfigInjected) != HAL_OK)
  {
    Error_Handler();
  }

}

static void MX_HRTIM1_Init(void)
{

  HRTIM_ADCTriggerCfgTypeDef pADCTriggerCfg = {0};
  HRTIM_TimeBaseCfgTypeDef pTimeBaseCfg = {0};
  HRTIM_TimerCtlTypeDef pTimerCtl = {0};
  HRTIM_SimpleOCChannelCfgTypeDef pSimpleOCChannelCfg = {0};

  hhrtim1.Instance = HRTIM1;
  hhrtim1.Init.HRTIMInterruptResquests = HRTIM_IT_NONE;
  hhrtim1.Init.SyncOptions = HRTIM_SYNCOPTION_NONE;
  if (HAL_HRTIM_Init(&hhrtim1) != HAL_OK)
  {
    Error_Handler();
  }
  if (HAL_HRTIM_DLLCalibrationStart(&hhrtim1, HRTIM_CALIBRATIONRATE_3) != HAL_OK)
  {
    Error_Handler();
  }
  if (HAL_HRTIM_PollForDLLCalibration(&hhrtim1, 10) != HAL_OK)
  {
    Error_Handler();
  }
  pADCTriggerCfg.UpdateSource = HRTIM_ADCTRIGGERUPDATE_TIMER_E;
  pADCTriggerCfg.Trigger = HRTIM_ADCTRIGGEREVENT13_TIMERE_PERIOD;
  if (HAL_HRTIM_ADCTriggerConfig(&hhrtim1, HRTIM_ADCTRIGGER_1, &pADCTriggerCfg) != HAL_OK)
  {
    Error_Handler();
  }
  if (HAL_HRTIM_ADCPostScalerConfig(&hhrtim1, HRTIM_ADCTRIGGER_1, 0x0) != HAL_OK)
  {
    Error_Handler();
  }
  pADCTriggerCfg.UpdateSource = HRTIM_ADCTRIGGERUPDATE_TIMER_F;
  pADCTriggerCfg.Trigger = HRTIM_ADCTRIGGEREVENT579_TIMERF_PERIOD;
  if (HAL_HRTIM_ADCTriggerConfig(&hhrtim1, HRTIM_ADCTRIGGER_5, &pADCTriggerCfg) != HAL_OK)
  {
    Error_Handler();
  }
  if (HAL_HRTIM_ADCPostScalerConfig(&hhrtim1, HRTIM_ADCTRIGGER_5, 0) != HAL_OK)
  {
    Error_Handler();
  }
  pTimeBaseCfg.Period = hrperiod;
  pTimeBaseCfg.RepetitionCounter = 0x00;
  pTimeBaseCfg.PrescalerRatio = HRTIM_PRESCALERRATIO_MUL32;
  pTimeBaseCfg.Mode = HRTIM_MODE_CONTINUOUS;
  if (HAL_HRTIM_TimeBaseConfig(&hhrtim1, HRTIM_TIMERINDEX_TIMER_D, &pTimeBaseCfg) != HAL_OK)
  {
    Error_Handler();
  }
  pTimerCtl.UpDownMode = HRTIM_TIMERUPDOWNMODE_UPDOWN;
  pTimerCtl.DualChannelDacEnable = HRTIM_TIMER_DCDE_DISABLED;

  if (HAL_HRTIM_WaveformTimerControl(&hhrtim1, HRTIM_TIMERINDEX_TIMER_D, &pTimerCtl) != HAL_OK)
  {
    Error_Handler();
  }
  if (HAL_HRTIM_RollOverModeConfig(&hhrtim1, HRTIM_TIMERINDEX_TIMER_D, HRTIM_TIM_FEROM_BOTH|HRTIM_TIM_BMROM_BOTH
                              |HRTIM_TIM_ADROM_BOTH|HRTIM_TIM_OUTROM_BOTH
                              |HRTIM_TIM_ROM_BOTH) != HAL_OK)
  {
    Error_Handler();
  }
  pSimpleOCChannelCfg.Mode = HRTIM_BASICOCMODE_ACTIVE;
  pSimpleOCChannelCfg.Pulse = hrperiod/2;
  pSimpleOCChannelCfg.Polarity = HRTIM_OUTPUTPOLARITY_HIGH;
  pSimpleOCChannelCfg.IdleLevel = HRTIM_OUTPUTIDLELEVEL_INACTIVE;
  if (HAL_HRTIM_SimpleOCChannelConfig(&hhrtim1, HRTIM_TIMERINDEX_TIMER_D, HRTIM_OUTPUT_TD1, &pSimpleOCChannelCfg) != HAL_OK)
  {
    Error_Handler();
  }
  if (HAL_HRTIM_TimeBaseConfig(&hhrtim1, HRTIM_TIMERINDEX_TIMER_E, &pTimeBaseCfg) != HAL_OK)
  {
    Error_Handler();
  }
  pTimerCtl.DualChannelDacEnable = HRTIM_TIMER_DCDE_DISABLED;

  if (HAL_HRTIM_WaveformTimerControl(&hhrtim1, HRTIM_TIMERINDEX_TIMER_E, &pTimerCtl) != HAL_OK)
  {
    Error_Handler();
  }
  if (HAL_HRTIM_RollOverModeConfig(&hhrtim1, HRTIM_TIMERINDEX_TIMER_E, HRTIM_TIM_FEROM_BOTH|HRTIM_TIM_BMROM_BOTH
                              |HRTIM_TIM_ADROM_CREST|HRTIM_TIM_OUTROM_BOTH
                              |HRTIM_TIM_ROM_BOTH) != HAL_OK)
  {
    Error_Handler();
  }
  if (HAL_HRTIM_SimpleOCChannelConfig(&hhrtim1, HRTIM_TIMERINDEX_TIMER_E, HRTIM_OUTPUT_TE1, &pSimpleOCChannelCfg) != HAL_OK)
  {
    Error_Handler();
  }
  if (HAL_HRTIM_TimeBaseConfig(&hhrtim1, HRTIM_TIMERINDEX_TIMER_F, &pTimeBaseCfg) != HAL_OK)
  {
    Error_Handler();
  }
  pTimerCtl.DualChannelDacEnable = HRTIM_TIMER_DCDE_DISABLED;

  if (HAL_HRTIM_WaveformTimerControl(&hhrtim1, HRTIM_TIMERINDEX_TIMER_F, &pTimerCtl) != HAL_OK)
  {
    Error_Handler();
  }
  if (HAL_HRTIM_RollOverModeConfig(&hhrtim1, HRTIM_TIMERINDEX_TIMER_F, HRTIM_TIM_FEROM_BOTH|HRTIM_TIM_BMROM_BOTH
                              |HRTIM_TIM_ADROM_VALLEY|HRTIM_TIM_OUTROM_BOTH
                              |HRTIM_TIM_ROM_BOTH) != HAL_OK)
  {
    Error_Handler();
  }
  if (HAL_HRTIM_SimpleOCChannelConfig(&hhrtim1, HRTIM_TIMERINDEX_TIMER_F, HRTIM_OUTPUT_TF1, &pSimpleOCChannelCfg) != HAL_OK)
  {
    Error_Handler();
  }
  HAL_HRTIM_MspPostInit(&hhrtim1);

}

static void MX_OPAMP3_Init(void)
{

  hopamp3.Instance = OPAMP3;
  hopamp3.Init.PowerMode = OPAMP_POWERMODE_HIGHSPEED;
  hopamp3.Init.Mode = OPAMP_FOLLOWER_MODE;
  hopamp3.Init.NonInvertingInput = OPAMP_NONINVERTINGINPUT_IO1;
  hopamp3.Init.InternalOutput = ENABLE;
  hopamp3.Init.TimerControlledMuxmode = OPAMP_TIMERCONTROLLEDMUXMODE_DISABLE;
  hopamp3.Init.UserTrimming = OPAMP_TRIMMING_FACTORY;
  if (HAL_OPAMP_Init(&hopamp3) != HAL_OK)
  {
    Error_Handler();
  }

}

static void MX_OPAMP4_Init(void)
{

  hopamp4.Instance = OPAMP4;
  hopamp4.Init.PowerMode = OPAMP_POWERMODE_HIGHSPEED;
  hopamp4.Init.Mode = OPAMP_FOLLOWER_MODE;
  hopamp4.Init.NonInvertingInput = OPAMP_NONINVERTINGINPUT_IO2;
  hopamp4.Init.InternalOutput = ENABLE;
  hopamp4.Init.TimerControlledMuxmode = OPAMP_TIMERCONTROLLEDMUXMODE_DISABLE;
  hopamp4.Init.UserTrimming = OPAMP_TRIMMING_FACTORY;
  if (HAL_OPAMP_Init(&hopamp4) != HAL_OK)
  {
    Error_Handler();
  }

}

static void MX_OPAMP6_Init(void)
{

  hopamp6.Instance = OPAMP6;
  hopamp6.Init.PowerMode = OPAMP_POWERMODE_HIGHSPEED;
  hopamp6.Init.Mode = OPAMP_FOLLOWER_MODE;
  hopamp6.Init.NonInvertingInput = OPAMP_NONINVERTINGINPUT_IO0;
  hopamp6.Init.InternalOutput = DISABLE;
  hopamp6.Init.TimerControlledMuxmode = OPAMP_TIMERCONTROLLEDMUXMODE_DISABLE;
  hopamp6.Init.UserTrimming = OPAMP_TRIMMING_FACTORY;
  if (HAL_OPAMP_Init(&hopamp6) != HAL_OK)
  {
    Error_Handler();
  }

}

static void MX_SPI1_Init(void)
{

  /* SPI1 parameter configuration*/
  hspi1.Instance = SPI1;
  hspi1.Init.Mode = SPI_MODE_MASTER;
  hspi1.Init.Direction = SPI_DIRECTION_2LINES;
  hspi1.Init.DataSize = SPI_DATASIZE_16BIT;
  hspi1.Init.NSS = SPI_NSS_HARD_OUTPUT;
  hspi1.Init.BaudRatePrescaler = SPI_BAUDRATEPRESCALER_64;
  hspi1.Init.TIMode = SPI_TIMODE_ENABLE;
  hspi1.Init.CRCCalculation = SPI_CRCCALCULATION_DISABLE;
  hspi1.Init.CRCPolynomial = 7;
  hspi1.Init.CRCLength = SPI_CRC_LENGTH_DATASIZE;
  hspi1.Init.NSSPMode = SPI_NSS_PULSE_DISABLE;
  if (HAL_SPI_Init(&hspi1) != HAL_OK)
  {
    Error_Handler();
  }

}

static void MX_SPI3_Init(void)
{

  /* SPI3 parameter configuration*/
  hspi3.Instance = SPI3;
  hspi3.Init.Mode = SPI_MODE_MASTER;
  hspi3.Init.Direction = SPI_DIRECTION_2LINES;
  hspi3.Init.DataSize = SPI_DATASIZE_16BIT;
  hspi3.Init.CLKPolarity = SPI_POLARITY_LOW;
  hspi3.Init.CLKPhase = SPI_PHASE_2EDGE;
  hspi3.Init.NSS = SPI_NSS_SOFT;
  hspi3.Init.BaudRatePrescaler = SPI_BAUDRATEPRESCALER_32;
  hspi3.Init.FirstBit = SPI_FIRSTBIT_MSB;
  hspi3.Init.TIMode = SPI_TIMODE_DISABLE;
  hspi3.Init.CRCCalculation = SPI_CRCCALCULATION_DISABLE;
  hspi3.Init.CRCPolynomial = 7;
  hspi3.Init.CRCLength = SPI_CRC_LENGTH_DATASIZE;
  hspi3.Init.NSSPMode = SPI_NSS_PULSE_DISABLE;
  if (HAL_SPI_Init(&hspi3) != HAL_OK)
  {
    Error_Handler();
  }

}

static void MX_TIM1_Init(void)
{

  TIM_ClockConfigTypeDef sClockSourceConfig = {0};
  TIM_MasterConfigTypeDef sMasterConfig = {0};
  TIM_BreakDeadTimeConfigTypeDef sBreakDeadTimeConfig = {0};

  htim1.Instance = TIM1;
  htim1.Init.Prescaler = 0;
  htim1.Init.CounterMode = TIM_COUNTERMODE_UP;
  htim1.Init.Period = 16999;
  htim1.Init.ClockDivision = TIM_CLOCKDIVISION_DIV1;
  htim1.Init.RepetitionCounter = 0;
  htim1.Init.AutoReloadPreload = TIM_AUTORELOAD_PRELOAD_DISABLE;
  if (HAL_TIM_Base_Init(&htim1) != HAL_OK)
  {
    Error_Handler();
  }
  sClockSourceConfig.ClockSource = TIM_CLOCKSOURCE_INTERNAL;
  if (HAL_TIM_ConfigClockSource(&htim1, &sClockSourceConfig) != HAL_OK)
  {
    Error_Handler();
  }
  sMasterConfig.MasterOutputTrigger = TIM_TRGO_RESET;
  sMasterConfig.MasterOutputTrigger2 = TIM_TRGO2_RESET;
  sMasterConfig.MasterSlaveMode = TIM_MASTERSLAVEMODE_DISABLE;
  if (HAL_TIMEx_MasterConfigSynchronization(&htim1, &sMasterConfig) != HAL_OK)
  {
    Error_Handler();
  }
  sBreakDeadTimeConfig.BreakAFMode = TIM_BREAK_AFMODE_INPUT;
  sBreakDeadTimeConfig.Break2AFMode = TIM_BREAK_AFMODE_INPUT;
  if (HAL_TIMEx_ConfigBreakDeadTime(&htim1, &sBreakDeadTimeConfig) != HAL_OK)
  {
    Error_Handler();
  }

}

static void MX_TIM4_Init(void)
{

  TIM_MasterConfigTypeDef sMasterConfig = {0};
  TIM_OC_InitTypeDef sConfigOC = {0};

  htim4.Instance = TIM4;
  htim4.Init.Prescaler = 0;
  htim4.Init.CounterMode = TIM_COUNTERMODE_UP;
  htim4.Init.Period = 65535;
  htim4.Init.ClockDivision = TIM_CLOCKDIVISION_DIV1;
  htim4.Init.AutoReloadPreload = TIM_AUTORELOAD_PRELOAD_DISABLE;
  if (HAL_TIM_PWM_Init(&htim4) != HAL_OK)
  {
    Error_Handler();
  }
  sMasterConfig.MasterOutputTrigger = TIM_TRGO_RESET;
  sMasterConfig.MasterSlaveMode = TIM_MASTERSLAVEMODE_DISABLE;
  if (HAL_TIMEx_MasterConfigSynchronization(&htim4, &sMasterConfig) != HAL_OK)
  {
    Error_Handler();
  }
  sConfigOC.OCMode = TIM_OCMODE_PWM1;
  sConfigOC.Pulse = 0;
  sConfigOC.OCPolarity = TIM_OCPOLARITY_HIGH;
  sConfigOC.OCFastMode = TIM_OCFAST_DISABLE;
  if (HAL_TIM_PWM_ConfigChannel(&htim4, &sConfigOC, TIM_CHANNEL_2) != HAL_OK)
  {
    Error_Handler();
  }
  HAL_TIM_MspPostInit(&htim4);

}

static void MX_TIM5_Init(void)
{

  TIM_Encoder_InitTypeDef sConfig = {0};
  TIM_MasterConfigTypeDef sMasterConfig = {0};
  TIM_IC_InitTypeDef sConfigIC = {0};

  htim5.Instance = TIM5;
  htim5.Init.Prescaler = 0;
  htim5.Init.CounterMode = TIM_COUNTERMODE_UP;
  htim5.Init.Period = 0xffffffff;
  htim5.Init.ClockDivision = TIM_CLOCKDIVISION_DIV1;
  htim5.Init.AutoReloadPreload = TIM_AUTORELOAD_PRELOAD_DISABLE;
  if (HAL_TIM_IC_Init(&htim5) != HAL_OK)
  {
    Error_Handler();
  }
  sConfig.EncoderMode = TIM_ENCODERMODE_TI12;
  sConfig.IC1Polarity = TIM_ICPOLARITY_RISING;
  sConfig.IC1Selection = TIM_ICSELECTION_DIRECTTI;
  sConfig.IC1Prescaler = TIM_ICPSC_DIV1;
  sConfig.IC1Filter = 1;
  sConfig.IC2Polarity = TIM_ICPOLARITY_RISING;
  sConfig.IC2Selection = TIM_ICSELECTION_DIRECTTI;
  sConfig.IC2Prescaler = TIM_ICPSC_DIV1;
  sConfig.IC2Filter = 1;
  if (HAL_TIM_Encoder_Init(&htim5, &sConfig) != HAL_OK)
  {
    Error_Handler();
  }
  sMasterConfig.MasterOutputTrigger = TIM_TRGO_RESET;
  sMasterConfig.MasterSlaveMode = TIM_MASTERSLAVEMODE_DISABLE;
  if (HAL_TIMEx_MasterConfigSynchronization(&htim5, &sMasterConfig) != HAL_OK)
  {
    Error_Handler();
  }
  sConfigIC.ICPolarity = TIM_INPUTCHANNELPOLARITY_RISING;
  sConfigIC.ICSelection = TIM_ICSELECTION_DIRECTTI;
  sConfigIC.ICPrescaler = TIM_ICPSC_DIV1;
  sConfigIC.ICFilter = 2;
  if (HAL_TIM_IC_ConfigChannel(&htim5, &sConfigIC, TIM_CHANNEL_3) != HAL_OK)
  {
    Error_Handler();
  }

}

static void MX_USART1_UART_Init(void)
{

  huart1.Instance = USART1;
  huart1.Init.BaudRate = 115200;
  huart1.Init.WordLength = UART_WORDLENGTH_8B;
  huart1.Init.StopBits = UART_STOPBITS_1;
  huart1.Init.Parity = UART_PARITY_NONE;
  huart1.Init.Mode = UART_MODE_TX_RX;
  huart1.Init.HwFlowCtl = UART_HWCONTROL_NONE;
  huart1.Init.OverSampling = UART_OVERSAMPLING_16;
  huart1.Init.OneBitSampling = UART_ONE_BIT_SAMPLE_DISABLE;
  huart1.Init.ClockPrescaler = UART_PRESCALER_DIV1;
  huart1.AdvancedInit.AdvFeatureInit = UART_ADVFEATURE_NO_INIT;
  if (HAL_UART_Init(&huart1) != HAL_OK)
  {
    Error_Handler();
  }
  if (HAL_UARTEx_SetTxFifoThreshold(&huart1, UART_TXFIFO_THRESHOLD_1_8) != HAL_OK)
  {
    Error_Handler();
  }
  if (HAL_UARTEx_SetRxFifoThreshold(&huart1, UART_RXFIFO_THRESHOLD_1_8) != HAL_OK)
  {
    Error_Handler();
  }
  if (HAL_UARTEx_DisableFifoMode(&huart1) != HAL_OK)
  {
    Error_Handler();
  }

}

static void MX_USB_PCD_Init(void)
{

  hpcd_USB_FS.Instance = USB;
  hpcd_USB_FS.Init.dev_endpoints = 8;
  hpcd_USB_FS.Init.speed = PCD_SPEED_FULL;
  hpcd_USB_FS.Init.phy_itface = PCD_PHY_EMBEDDED;
  hpcd_USB_FS.Init.Sof_enable = DISABLE;
  hpcd_USB_FS.Init.low_power_enable = DISABLE;
  hpcd_USB_FS.Init.lpm_enable = DISABLE;
  hpcd_USB_FS.Init.battery_charging_enable = DISABLE;
  if (HAL_PCD_Init(&hpcd_USB_FS) != HAL_OK)
  {
    Error_Handler();
  }

}

static void MX_DMA_Init(void)
{

  /* DMA controller clock enable */
  __HAL_RCC_DMAMUX1_CLK_ENABLE();
  __HAL_RCC_DMA1_CLK_ENABLE();

  /* DMA interrupt init */
  /* DMA1_Channel1_IRQn interrupt configuration */
  HAL_NVIC_SetPriority(DMA1_Channel1_IRQn, 0, 0);
  HAL_NVIC_EnableIRQ(DMA1_Channel1_IRQn);
  /* DMA1_Channel2_IRQn interrupt configuration */
  HAL_NVIC_SetPriority(DMA1_Channel2_IRQn, 0, 0);
  HAL_NVIC_EnableIRQ(DMA1_Channel2_IRQn);

}

static void MX_GPIO_Init(void)
{
  GPIO_InitTypeDef GPIO_InitStruct = {0};

  /* GPIO Ports Clock Enable */
  __HAL_RCC_GPIOC_CLK_ENABLE();
  __HAL_RCC_GPIOF_CLK_ENABLE();
  __HAL_RCC_GPIOG_CLK_ENABLE();
  __HAL_RCC_GPIOA_CLK_ENABLE();
  __HAL_RCC_GPIOB_CLK_ENABLE();

  /*Configure GPIO pin Output Level */
  HAL_GPIO_WritePin(GPIOA, GPIO_PIN_15, GPIO_PIN_SET);

  /*Configure GPIO pin Output Level */
  HAL_GPIO_WritePin(GPIOC, GPIO_PIN_11, GPIO_PIN_RESET);

  /*Configure GPIO pin Output Level */
  HAL_GPIO_WritePin(GPIOC, GPIO_PIN_12, GPIO_PIN_SET);

  /*Configure GPIO pin : PG10 */
  GPIO_InitStruct.Pin = GPIO_PIN_10;
  GPIO_InitStruct.Mode = GPIO_MODE_INPUT;
  GPIO_InitStruct.Pull = GPIO_NOPULL;
  HAL_GPIO_Init(GPIOG, &GPIO_InitStruct);

  /*Configure GPIO pins : hall1_Pin hall2_Pin hall3_Pin */
  GPIO_InitStruct.Pin = hall1_Pin|hall2_Pin|hall3_Pin;
  GPIO_InitStruct.Mode = GPIO_MODE_INPUT;
  GPIO_InitStruct.Pull = GPIO_NOPULL;
  HAL_GPIO_Init(GPIOC, &GPIO_InitStruct);

  /*Configure GPIO pin : PA15 */
  GPIO_InitStruct.Pin = GPIO_PIN_15;
  GPIO_InitStruct.Mode = GPIO_MODE_OUTPUT_PP;
  GPIO_InitStruct.Pull = GPIO_NOPULL;
  GPIO_InitStruct.Speed = GPIO_SPEED_FREQ_VERY_HIGH;
  HAL_GPIO_Init(GPIOA, &GPIO_InitStruct);

  /*Configure GPIO pin : PC11 */
  GPIO_InitStruct.Pin = GPIO_PIN_11;
  GPIO_InitStruct.Mode = GPIO_MODE_OUTPUT_PP;
  GPIO_InitStruct.Pull = GPIO_NOPULL;
  GPIO_InitStruct.Speed = GPIO_SPEED_FREQ_LOW;
  HAL_GPIO_Init(GPIOC, &GPIO_InitStruct);

  /*Configure GPIO pin : PC12 */
  GPIO_InitStruct.Pin = GPIO_PIN_12;
  GPIO_InitStruct.Mode = GPIO_MODE_OUTPUT_PP;
  GPIO_InitStruct.Pull = GPIO_NOPULL;
  GPIO_InitStruct.Speed = GPIO_SPEED_FREQ_VERY_HIGH;
  HAL_GPIO_Init(GPIOC, &GPIO_InitStruct);

}

void Error_Handler(void)
{
}

/************************ (C) COPYRIGHT STMicroelectronics *****END OF FILE****/
